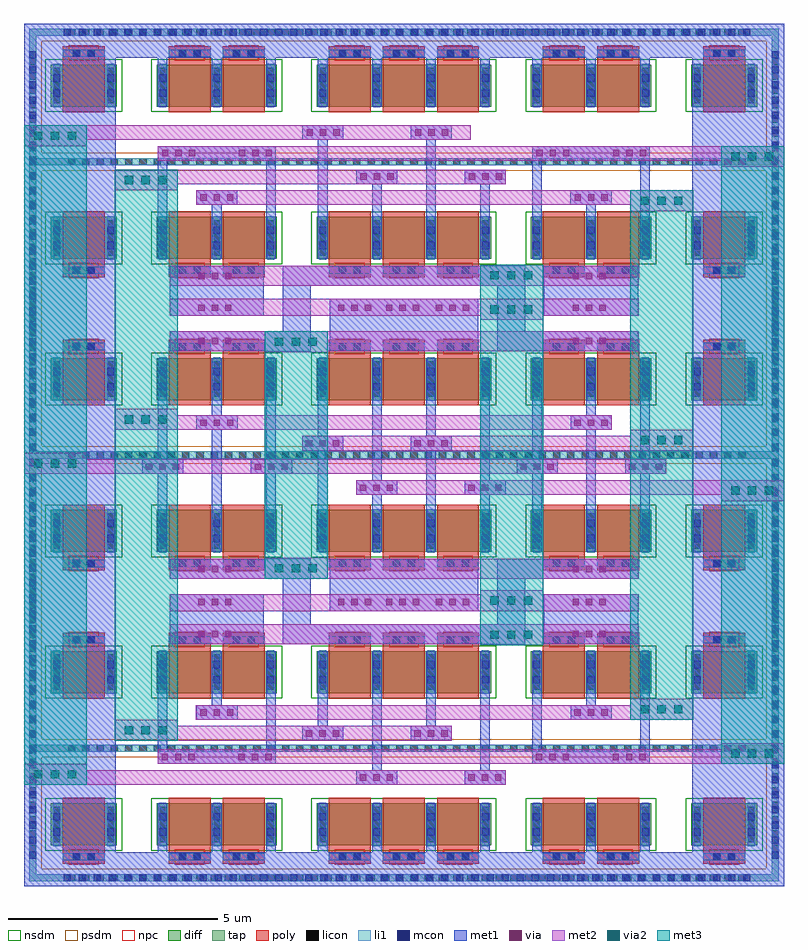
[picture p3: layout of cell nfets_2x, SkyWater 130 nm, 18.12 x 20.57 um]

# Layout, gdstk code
import gdstk
lib = gdstk.Library(unit=1e-6, precision=1e-09)
def R(c, l, rs):  # rectangles x0, y0, x1, y1
    for r in rs: c.add(gdstk.rectangle(r[:2], r[2:], *l))
def A(c, l, x, y, w, h, nx, ny, dx, dy):  # array of equal rectangles
    R(c, l, [(x+i*dx, y+j*dy, x+i*dx+w, y+j*dy+h) for i in range(nx) for j in range(ny)])
diff = (65, 20)
tap = (65, 44)
poly = (66, 20)
licon = (66, 44)
li1 = (67, 20)
mcon = (67, 44)
met1 = (68, 20)
via = (68, 44)
met2 = (69, 20)
via2 = (69, 44)
met3 = (70, 20)
nsdm = (93, 44)
psdm = (94, 20)
npc = (95, 20)

nfets_2x = lib.new_cell('nfets_2x')
R(nfets_2x, diff, [(-0.71,-14.52,0.87,-13.52), (1.815,-14.52,4.685,-13.52), (5.63,-14.52,9.79,-13.52), (10.735,-14.52,13.605,-13.52), (14.555,-14.52,16.135,-13.52), (-0.71,-10.89,0.87,-9.89), (1.815,-10.89,4.685,-9.89), (5.63,-10.89,9.79,-9.89), (10.735,-10.89,13.605,-9.89), (14.555,-10.89,16.135,-9.89), (-0.71,-7.525,0.87,-6.525), (1.815,-7.525,4.685,-6.525), (5.63,-7.525,9.79,-6.525), (10.735,-7.525,13.605,-6.525), (14.555,-7.525,16.135,-6.525), (-0.71,-3.905,0.87,-2.905), (1.815,-3.905,4.685,-2.905), (5.63,-3.905,9.79,-2.905), (10.735,-3.905,13.605,-2.905), (14.555,-3.905,16.135,-2.905), (-0.71,-0.54,0.87,0.46), (1.815,-0.54,4.685,0.46), (5.63,-0.54,9.79,0.46), (10.735,-0.54,13.605,0.46), (14.555,-0.54,16.135,0.46), (-0.71,3.09,0.87,4.09), (1.815,3.09,4.685,4.09), (5.63,3.09,9.79,4.09), (10.735,3.09,13.605,4.09), (14.555,3.09,16.135,4.09)])
A(nfets_2x, tap, -1.22, -12.29, 17.865, 0.17, 1, 3, 0, 6.99)
R(nfets_2x, tap, [(-1.22,-15.375,16.645,-15.205), (-1.22,-15.205,-1.05,-12.29), (16.475,-15.205,16.645,-12.29), (-1.22,-12.12,-1.05,-5.3), (16.475,-12.12,16.645,-5.3), (-1.22,-5.13,-1.05,1.69), (16.475,-5.13,16.645,1.69), (-1.22,1.86,-1.05,4.775), (16.475,1.86,16.645,4.775), (-1.22,4.775,16.645,4.945)])
A(nfets_2x, poly, 5.92, -14.96, 1, 1.57, 3, 2, 1.29, 3.94)
A(nfets_2x, poly, 5.92, -7.965, 1, 1.57, 3, 2, 1.29, 3.93)
A(nfets_2x, poly, 5.92, -0.98, 1, 1.57, 3, 2, 1.29, 3.94)
R(nfets_2x, poly, [(-0.42,-14.96,0.58,-13.39), (2.105,-14.96,3.105,-13.39), (3.395,-14.96,4.395,-13.39), (11.025,-14.96,12.025,-13.39), (12.315,-14.96,13.315,-13.39), (14.845,-14.96,15.845,-13.39), (-0.42,-11.02,0.58,-9.45), (2.105,-11.02,3.105,-9.45), (3.395,-11.02,4.395,-9.45), (11.025,-11.02,12.025,-9.45), (12.315,-11.02,13.315,-9.45), (14.845,-11.02,15.845,-9.45), (-0.42,-7.965,0.58,-6.395), (2.105,-7.965,3.105,-6.395), (3.395,-7.965,4.395,-6.395), (11.025,-7.965,12.025,-6.395), (12.315,-7.965,13.315,-6.395), (14.845,-7.965,15.845,-6.395), (-0.42,-4.035,0.58,-2.465), (2.105,-4.035,3.105,-2.465), (3.395,-4.035,4.395,-2.465), (11.025,-4.035,12.025,-2.465), (12.315,-4.035,13.315,-2.465), (14.845,-4.035,15.845,-2.465), (-0.42,-0.98,0.58,0.59), (2.105,-0.98,3.105,0.59), (3.395,-0.98,4.395,0.59), (11.025,-0.98,12.025,0.59), (12.315,-0.98,13.315,0.59), (14.845,-0.98,15.845,0.59), (-0.42,2.96,0.58,4.53), (2.105,2.96,3.105,4.53), (3.395,2.96,4.395,4.53), (11.025,2.96,12.025,4.53), (12.315,2.96,13.315,4.53), (14.845,2.96,15.845,4.53)])
A(nfets_2x, licon, -0.295, -15.375, 0.17, 0.17, 48, 2, 0.34, 3.085)
A(nfets_2x, licon, -1.22, -14.67, 0.17, 0.17, 1, 26, 0, 0.34)
A(nfets_2x, licon, 16.475, -14.67, 0.17, 0.17, 1, 26, 0, 0.34)
A(nfets_2x, licon, -0.65, -14.445, 0.17, 0.17, 1, 3, 0, 0.34)
A(nfets_2x, licon, 0.64, -14.445, 0.17, 0.17, 1, 3, 0, 0.34)
A(nfets_2x, licon, 1.875, -14.445, 0.17, 0.17, 3, 3, 1.29, 0.34)
A(nfets_2x, licon, 5.69, -14.445, 0.17, 0.17, 4, 3, 1.29, 0.34)
A(nfets_2x, licon, 10.795, -14.445, 0.17, 0.17, 3, 3, 1.29, 0.34)
A(nfets_2x, licon, 14.615, -14.445, 0.17, 0.17, 1, 3, 0, 0.34)
A(nfets_2x, licon, 15.905, -14.445, 0.17, 0.17, 1, 3, 0, 0.34)
A(nfets_2x, licon, -0.65, -10.815, 0.17, 0.17, 1, 3, 0, 0.34)
A(nfets_2x, licon, 0.64, -10.815, 0.17, 0.17, 1, 3, 0, 0.34)
A(nfets_2x, licon, 1.875, -10.815, 0.17, 0.17, 3, 3, 1.29, 0.34)
A(nfets_2x, licon, 5.69, -10.815, 0.17, 0.17, 4, 3, 1.29, 0.34)
A(nfets_2x, licon, 10.795, -10.815, 0.17, 0.17, 3, 3, 1.29, 0.34)
A(nfets_2x, licon, 14.615, -10.815, 0.17, 0.17, 1, 3, 0, 0.34)
A(nfets_2x, licon, 15.905, -10.815, 0.17, 0.17, 1, 3, 0, 0.34)
A(nfets_2x, licon, -0.65, -7.45, 0.17, 0.17, 1, 3, 0, 0.34)
A(nfets_2x, licon, 0.64, -7.45, 0.17, 0.17, 1, 3, 0, 0.34)
A(nfets_2x, licon, 1.875, -7.45, 0.17, 0.17, 3, 3, 1.29, 0.34)
A(nfets_2x, licon, 5.69, -7.45, 0.17, 0.17, 4, 3, 1.29, 0.34)
A(nfets_2x, licon, 10.795, -7.45, 0.17, 0.17, 3, 3, 1.29, 0.34)
A(nfets_2x, licon, 14.615, -7.45, 0.17, 0.17, 1, 3, 0, 0.34)
A(nfets_2x, licon, 15.905, -7.45, 0.17, 0.17, 1, 3, 0, 0.34)
A(nfets_2x, licon, -0.295, -5.3, 0.17, 0.17, 48, 2, 0.34, 6.99)
A(nfets_2x, licon, -1.22, -4.43, 0.17, 0.17, 1, 26, 0, 0.34)
A(nfets_2x, licon, 16.475, -4.43, 0.17, 0.17, 1, 26, 0, 0.34)
A(nfets_2x, licon, -0.65, -3.83, 0.17, 0.17, 1, 3, 0, 0.34)
A(nfets_2x, licon, 0.64, -3.83, 0.17, 0.17, 1, 3, 0, 0.34)
A(nfets_2x, licon, 1.875, -3.83, 0.17, 0.17, 3, 3, 1.29, 0.34)
A(nfets_2x, licon, 5.69, -3.83, 0.17, 0.17, 4, 3, 1.29, 0.34)
A(nfets_2x, licon, 10.795, -3.83, 0.17, 0.17, 3, 3, 1.29, 0.34)
A(nfets_2x, licon, 14.615, -3.83, 0.17, 0.17, 1, 3, 0, 0.34)
A(nfets_2x, licon, 15.905, -3.83, 0.17, 0.17, 1, 3, 0, 0.34)
A(nfets_2x, licon, -0.65, -0.465, 0.17, 0.17, 1, 3, 0, 0.34)
A(nfets_2x, licon, 0.64, -0.465, 0.17, 0.17, 1, 3, 0, 0.34)
A(nfets_2x, licon, 1.875, -0.465, 0.17, 0.17, 3, 3, 1.29, 0.34)
A(nfets_2x, licon, 5.69, -0.465, 0.17, 0.17, 4, 3, 1.29, 0.34)
A(nfets_2x, licon, 10.795, -0.465, 0.17, 0.17, 3, 3, 1.29, 0.34)
A(nfets_2x, licon, 14.615, -0.465, 0.17, 0.17, 1, 3, 0, 0.34)
A(nfets_2x, licon, 15.905, -0.465, 0.17, 0.17, 1, 3, 0, 0.34)
A(nfets_2x, licon, -0.65, 3.165, 0.17, 0.17, 1, 3, 0, 0.34)
A(nfets_2x, licon, 0.64, 3.165, 0.17, 0.17, 1, 3, 0, 0.34)
A(nfets_2x, licon, 1.875, 3.165, 0.17, 0.17, 3, 3, 1.29, 0.34)
A(nfets_2x, licon, 5.69, 3.165, 0.17, 0.17, 4, 3, 1.29, 0.34)
A(nfets_2x, licon, 10.795, 3.165, 0.17, 0.17, 3, 3, 1.29, 0.34)
A(nfets_2x, licon, 14.615, 3.165, 0.17, 0.17, 1, 3, 0, 0.34)
A(nfets_2x, licon, 15.905, 3.165, 0.17, 0.17, 1, 3, 0, 0.34)
A(nfets_2x, licon, -0.295, 4.775, 0.17, 0.17, 48, 1, 0.34, 0)
R(nfets_2x, licon, [(-0.175,-14.88,-0.005,-14.71), (0.165,-14.88,0.335,-14.71), (2.35,-14.88,2.52,-14.71), (2.69,-14.88,2.86,-14.71), (3.64,-14.88,3.81,-14.71), (3.98,-14.88,4.15,-14.71), (6.165,-14.88,6.335,-14.71), (6.505,-14.88,6.675,-14.71), (7.455,-14.88,7.625,-14.71), (7.795,-14.88,7.965,-14.71), (8.745,-14.88,8.915,-14.71), (9.085,-14.88,9.255,-14.71), (11.27,-14.88,11.44,-14.71), (11.61,-14.88,11.78,-14.71), (12.56,-14.88,12.73,-14.71), (12.9,-14.88,13.07,-14.71), (15.09,-14.88,15.26,-14.71), (15.43,-14.88,15.6,-14.71), (-0.175,-9.7,-0.005,-9.53), (0.165,-9.7,0.335,-9.53), (2.35,-9.7,2.52,-9.53), (2.69,-9.7,2.86,-9.53), (3.64,-9.7,3.81,-9.53), (3.98,-9.7,4.15,-9.53), (6.165,-9.7,6.335,-9.53), (6.505,-9.7,6.675,-9.53), (7.455,-9.7,7.625,-9.53), (7.795,-9.7,7.965,-9.53), (8.745,-9.7,8.915,-9.53), (9.085,-9.7,9.255,-9.53), (11.27,-9.7,11.44,-9.53), (11.61,-9.7,11.78,-9.53), (12.56,-9.7,12.73,-9.53), (12.9,-9.7,13.07,-9.53), (15.09,-9.7,15.26,-9.53), (15.43,-9.7,15.6,-9.53), (-0.175,-7.885,-0.005,-7.715), (0.165,-7.885,0.335,-7.715), (2.35,-7.885,2.52,-7.715), (2.69,-7.885,2.86,-7.715), (3.64,-7.885,3.81,-7.715), (3.98,-7.885,4.15,-7.715), (6.165,-7.885,6.335,-7.715), (6.505,-7.885,6.675,-7.715), (7.455,-7.885,7.625,-7.715), (7.795,-7.885,7.965,-7.715), (8.745,-7.885,8.915,-7.715), (9.085,-7.885,9.255,-7.715), (11.27,-7.885,11.44,-7.715), (11.61,-7.885,11.78,-7.715), (12.56,-7.885,12.73,-7.715), (12.9,-7.885,13.07,-7.715), (15.09,-7.885,15.26,-7.715), (15.43,-7.885,15.6,-7.715), (-0.175,-2.715,-0.005,-2.545), (0.165,-2.715,0.335,-2.545), (2.35,-2.715,2.52,-2.545), (2.69,-2.715,2.86,-2.545), (3.64,-2.715,3.81,-2.545), (3.98,-2.715,4.15,-2.545), (6.165,-2.715,6.335,-2.545), (6.505,-2.715,6.675,-2.545), (7.455,-2.715,7.625,-2.545), (7.795,-2.715,7.965,-2.545), (8.745,-2.715,8.915,-2.545), (9.085,-2.715,9.255,-2.545), (11.27,-2.715,11.44,-2.545), (11.61,-2.715,11.78,-2.545), (12.56,-2.715,12.73,-2.545), (12.9,-2.715,13.07,-2.545), (15.09,-2.715,15.26,-2.545), (15.43,-2.715,15.6,-2.545), (-0.175,-0.9,-0.005,-0.73), (0.165,-0.9,0.335,-0.73), (2.35,-0.9,2.52,-0.73), (2.69,-0.9,2.86,-0.73), (3.64,-0.9,3.81,-0.73), (3.98,-0.9,4.15,-0.73), (6.165,-0.9,6.335,-0.73), (6.505,-0.9,6.675,-0.73), (7.455,-0.9,7.625,-0.73), (7.795,-0.9,7.965,-0.73), (8.745,-0.9,8.915,-0.73), (9.085,-0.9,9.255,-0.73), (11.27,-0.9,11.44,-0.73), (11.61,-0.9,11.78,-0.73), (12.56,-0.9,12.73,-0.73), (12.9,-0.9,13.07,-0.73), (15.09,-0.9,15.26,-0.73), (15.43,-0.9,15.6,-0.73), (-0.175,4.28,-0.005,4.45), (0.165,4.28,0.335,4.45), (2.35,4.28,2.52,4.45), (2.69,4.28,2.86,4.45), (3.64,4.28,3.81,4.45), (3.98,4.28,4.15,4.45), (6.165,4.28,6.335,4.45), (6.505,4.28,6.675,4.45), (7.455,4.28,7.625,4.45), (7.795,4.28,7.965,4.45), (8.745,4.28,8.915,4.45), (9.085,4.28,9.255,4.45), (11.27,4.28,11.44,4.45), (11.61,4.28,11.78,4.45), (12.56,4.28,12.73,4.45), (12.9,4.28,13.07,4.45), (15.09,4.28,15.26,4.45), (15.43,4.28,15.6,4.45)])
A(nfets_2x, li1, 5.92, -14.88, 1, 0.17, 3, 2, 1.29, 5.18)
A(nfets_2x, li1, 1.875, -14.54, 0.17, 1.04, 3, 2, 1.29, 3.63)
A(nfets_2x, li1, 5.69, -14.54, 0.17, 1.04, 4, 2, 1.29, 3.63)
A(nfets_2x, li1, 10.795, -14.54, 0.17, 1.04, 3, 2, 1.29, 3.63)
A(nfets_2x, li1, -1.22, -12.29, 17.865, 0.17, 1, 3, 0, 6.99)
A(nfets_2x, li1, 5.92, -7.885, 1, 0.17, 3, 2, 1.29, 5.17)
A(nfets_2x, li1, 1.875, -7.545, 0.17, 1.04, 3, 2, 1.29, 3.62)
A(nfets_2x, li1, 5.69, -7.545, 0.17, 1.04, 4, 2, 1.29, 3.62)
A(nfets_2x, li1, 10.795, -7.545, 0.17, 1.04, 3, 2, 1.29, 3.62)
A(nfets_2x, li1, 5.92, -0.9, 1, 0.17, 3, 2, 1.29, 5.18)
A(nfets_2x, li1, 1.875, -0.56, 0.17, 1.04, 3, 2, 1.29, 3.63)
A(nfets_2x, li1, 5.69, -0.56, 0.17, 1.04, 4, 2, 1.29, 3.63)
A(nfets_2x, li1, 10.795, -0.56, 0.17, 1.04, 3, 2, 1.29, 3.63)
R(nfets_2x, li1, [(-1.22,-15.375,16.645,-15.205), (-1.22,-15.205,-1.05,-12.29), (16.475,-15.205,16.645,-12.29), (-0.42,-14.88,0.58,-14.71), (2.105,-14.88,3.105,-14.71), (3.395,-14.88,4.395,-14.71), (11.025,-14.88,12.025,-14.71), (12.315,-14.88,13.315,-14.71), (14.845,-14.88,15.845,-14.71), (-0.65,-14.54,-0.48,-13.5), (0.64,-14.54,0.81,-13.5), (14.615,-14.54,14.785,-13.5), (15.905,-14.54,16.075,-13.5), (-1.22,-12.12,-1.05,-5.3), (16.475,-12.12,16.645,-5.3), (-0.65,-10.91,-0.48,-9.87), (0.64,-10.91,0.81,-9.87), (14.615,-10.91,14.785,-9.87), (15.905,-10.91,16.075,-9.87), (-0.42,-9.7,0.58,-9.53), (2.105,-9.7,3.105,-9.53), (3.395,-9.7,4.395,-9.53), (11.025,-9.7,12.025,-9.53), (12.315,-9.7,13.315,-9.53), (14.845,-9.7,15.845,-9.53), (-0.42,-7.885,0.58,-7.715), (2.105,-7.885,3.105,-7.715), (3.395,-7.885,4.395,-7.715), (11.025,-7.885,12.025,-7.715), (12.315,-7.885,13.315,-7.715), (14.845,-7.885,15.845,-7.715), (-0.65,-7.545,-0.48,-6.505), (0.64,-7.545,0.81,-6.505), (14.615,-7.545,14.785,-6.505), (15.905,-7.545,16.075,-6.505), (-1.22,-5.13,-1.05,1.69), (16.475,-5.13,16.645,1.69), (-0.65,-3.925,-0.48,-2.885), (0.64,-3.925,0.81,-2.885), (14.615,-3.925,14.785,-2.885), (15.905,-3.925,16.075,-2.885), (-0.42,-2.715,0.58,-2.545), (2.105,-2.715,3.105,-2.545), (3.395,-2.715,4.395,-2.545), (11.025,-2.715,12.025,-2.545), (12.315,-2.715,13.315,-2.545), (14.845,-2.715,15.845,-2.545), (-0.42,-0.9,0.58,-0.73), (2.105,-0.9,3.105,-0.73), (3.395,-0.9,4.395,-0.73), (11.025,-0.9,12.025,-0.73), (12.315,-0.9,13.315,-0.73), (14.845,-0.9,15.845,-0.73), (-0.65,-0.56,-0.48,0.48), (0.64,-0.56,0.81,0.48), (14.615,-0.56,14.785,0.48), (15.905,-0.56,16.075,0.48), (-1.22,1.86,-1.05,4.775), (16.475,1.86,16.645,4.775), (-0.65,3.07,-0.48,4.11), (0.64,3.07,0.81,4.11), (14.615,3.07,14.785,4.11), (15.905,3.07,16.075,4.11), (-0.42,4.28,0.58,4.45), (2.105,4.28,3.105,4.45), (3.395,4.28,4.395,4.45), (11.025,4.28,12.025,4.45), (12.315,4.28,13.315,4.45), (14.845,4.28,15.845,4.45), (-1.22,4.775,16.645,4.945)])
A(nfets_2x, mcon, -0.4, -15.375, 0.17, 0.17, 46, 2, 0.36, 20.15)
A(nfets_2x, mcon, -1.22, -14.84, 0.17, 0.17, 1, 54, 0, 0.36)
A(nfets_2x, mcon, 16.475, -14.84, 0.17, 0.17, 1, 54, 0, 0.36)
A(nfets_2x, mcon, 1.875, -14.285, 0.17, 0.17, 3, 2, 1.29, 0.36)
A(nfets_2x, mcon, 5.69, -14.285, 0.17, 0.17, 4, 2, 1.29, 0.36)
A(nfets_2x, mcon, 10.795, -14.285, 0.17, 0.17, 3, 2, 1.29, 0.36)
A(nfets_2x, mcon, 1.875, -10.655, 0.17, 0.17, 3, 2, 1.29, 0.36)
A(nfets_2x, mcon, 5.69, -10.655, 0.17, 0.17, 4, 2, 1.29, 0.36)
A(nfets_2x, mcon, 10.795, -10.655, 0.17, 0.17, 3, 2, 1.29, 0.36)
A(nfets_2x, mcon, 1.875, -7.29, 0.17, 0.17, 3, 2, 1.29, 0.36)
A(nfets_2x, mcon, 5.69, -7.29, 0.17, 0.17, 4, 2, 1.29, 0.36)
A(nfets_2x, mcon, 10.795, -7.29, 0.17, 0.17, 3, 2, 1.29, 0.36)
A(nfets_2x, mcon, 1.875, -3.67, 0.17, 0.17, 3, 2, 1.29, 0.36)
A(nfets_2x, mcon, 5.69, -3.67, 0.17, 0.17, 4, 2, 1.29, 0.36)
A(nfets_2x, mcon, 10.795, -3.67, 0.17, 0.17, 3, 2, 1.29, 0.36)
A(nfets_2x, mcon, 1.875, -0.305, 0.17, 0.17, 3, 2, 1.29, 0.36)
A(nfets_2x, mcon, 5.69, -0.305, 0.17, 0.17, 4, 2, 1.29, 0.36)
A(nfets_2x, mcon, 10.795, -0.305, 0.17, 0.17, 3, 2, 1.29, 0.36)
A(nfets_2x, mcon, 1.875, 3.325, 0.17, 0.17, 3, 2, 1.29, 0.36)
A(nfets_2x, mcon, 5.69, 3.325, 0.17, 0.17, 4, 2, 1.29, 0.36)
A(nfets_2x, mcon, 10.795, 3.325, 0.17, 0.17, 3, 2, 1.29, 0.36)
R(nfets_2x, mcon, [(-0.185,-14.88,-0.015,-14.71), (0.175,-14.88,0.345,-14.71), (2.34,-14.88,2.51,-14.71), (2.7,-14.88,2.87,-14.71), (3.63,-14.88,3.8,-14.71), (3.99,-14.88,4.16,-14.71), (6.155,-14.88,6.325,-14.71), (6.515,-14.88,6.685,-14.71), (7.445,-14.88,7.615,-14.71), (7.805,-14.88,7.975,-14.71), (8.735,-14.88,8.905,-14.71), (9.095,-14.88,9.265,-14.71), (11.26,-14.88,11.43,-14.71), (11.62,-14.88,11.79,-14.71), (12.55,-14.88,12.72,-14.71), (12.91,-14.88,13.08,-14.71), (15.08,-14.88,15.25,-14.71), (15.44,-14.88,15.61,-14.71), (-0.65,-14.285,-0.48,-14.115), (0.64,-14.285,0.81,-14.115), (14.615,-14.285,14.785,-14.115), (15.905,-14.285,16.075,-14.115), (-0.65,-13.925,-0.48,-13.755), (0.64,-13.925,0.81,-13.755), (14.615,-13.925,14.785,-13.755), (15.905,-13.925,16.075,-13.755), (-0.65,-10.655,-0.48,-10.485), (0.64,-10.655,0.81,-10.485), (14.615,-10.655,14.785,-10.485), (15.905,-10.655,16.075,-10.485), (-0.65,-10.295,-0.48,-10.125), (0.64,-10.295,0.81,-10.125), (14.615,-10.295,14.785,-10.125), (15.905,-10.295,16.075,-10.125), (-0.185,-9.7,-0.015,-9.53), (0.175,-9.7,0.345,-9.53), (2.34,-9.7,2.51,-9.53), (2.7,-9.7,2.87,-9.53), (3.63,-9.7,3.8,-9.53), (3.99,-9.7,4.16,-9.53), (6.155,-9.7,6.325,-9.53), (6.515,-9.7,6.685,-9.53), (7.445,-9.7,7.615,-9.53), (7.805,-9.7,7.975,-9.53), (8.735,-9.7,8.905,-9.53), (9.095,-9.7,9.265,-9.53), (11.26,-9.7,11.43,-9.53), (11.62,-9.7,11.79,-9.53), (12.55,-9.7,12.72,-9.53), (12.91,-9.7,13.08,-9.53), (15.08,-9.7,15.25,-9.53), (15.44,-9.7,15.61,-9.53), (-0.185,-7.885,-0.015,-7.715), (0.175,-7.885,0.345,-7.715), (2.34,-7.885,2.51,-7.715), (2.7,-7.885,2.87,-7.715), (3.63,-7.885,3.8,-7.715), (3.99,-7.885,4.16,-7.715), (6.155,-7.885,6.325,-7.715), (6.515,-7.885,6.685,-7.715), (7.445,-7.885,7.615,-7.715), (7.805,-7.885,7.975,-7.715), (8.735,-7.885,8.905,-7.715), (9.095,-7.885,9.265,-7.715), (11.26,-7.885,11.43,-7.715), (11.62,-7.885,11.79,-7.715), (12.55,-7.885,12.72,-7.715), (12.91,-7.885,13.08,-7.715), (15.08,-7.885,15.25,-7.715), (15.44,-7.885,15.61,-7.715), (-0.65,-7.29,-0.48,-7.12), (0.64,-7.29,0.81,-7.12), (14.615,-7.29,14.785,-7.12), (15.905,-7.29,16.075,-7.12), (-0.65,-6.93,-0.48,-6.76), (0.64,-6.93,0.81,-6.76), (14.615,-6.93,14.785,-6.76), (15.905,-6.93,16.075,-6.76), (-0.65,-3.67,-0.48,-3.5), (0.64,-3.67,0.81,-3.5), (14.615,-3.67,14.785,-3.5), (15.905,-3.67,16.075,-3.5), (-0.65,-3.31,-0.48,-3.14), (0.64,-3.31,0.81,-3.14), (14.615,-3.31,14.785,-3.14), (15.905,-3.31,16.075,-3.14), (-0.185,-2.715,-0.015,-2.545), (0.175,-2.715,0.345,-2.545), (2.34,-2.715,2.51,-2.545), (2.7,-2.715,2.87,-2.545), (3.63,-2.715,3.8,-2.545), (3.99,-2.715,4.16,-2.545), (6.155,-2.715,6.325,-2.545), (6.515,-2.715,6.685,-2.545), (7.445,-2.715,7.615,-2.545), (7.805,-2.715,7.975,-2.545), (8.735,-2.715,8.905,-2.545), (9.095,-2.715,9.265,-2.545), (11.26,-2.715,11.43,-2.545), (11.62,-2.715,11.79,-2.545), (12.55,-2.715,12.72,-2.545), (12.91,-2.715,13.08,-2.545), (15.08,-2.715,15.25,-2.545), (15.44,-2.715,15.61,-2.545), (-0.185,-0.9,-0.015,-0.73), (0.175,-0.9,0.345,-0.73), (2.34,-0.9,2.51,-0.73), (2.7,-0.9,2.87,-0.73), (3.63,-0.9,3.8,-0.73), (3.99,-0.9,4.16,-0.73), (6.155,-0.9,6.325,-0.73), (6.515,-0.9,6.685,-0.73), (7.445,-0.9,7.615,-0.73), (7.805,-0.9,7.975,-0.73), (8.735,-0.9,8.905,-0.73), (9.095,-0.9,9.265,-0.73), (11.26,-0.9,11.43,-0.73), (11.62,-0.9,11.79,-0.73), (12.55,-0.9,12.72,-0.73), (12.91,-0.9,13.08,-0.73), (15.08,-0.9,15.25,-0.73), (15.44,-0.9,15.61,-0.73), (-0.65,-0.305,-0.48,-0.135), (0.64,-0.305,0.81,-0.135), (14.615,-0.305,14.785,-0.135), (15.905,-0.305,16.075,-0.135), (-0.65,0.055,-0.48,0.225), (0.64,0.055,0.81,0.225), (14.615,0.055,14.785,0.225), (15.905,0.055,16.075,0.225), (-0.65,3.325,-0.48,3.495), (0.64,3.325,0.81,3.495), (14.615,3.325,14.785,3.495), (15.905,3.325,16.075,3.495), (-0.65,3.685,-0.48,3.855), (0.64,3.685,0.81,3.855), (14.615,3.685,14.785,3.855), (15.905,3.685,16.075,3.855), (-0.185,4.28,-0.015,4.45), (0.175,4.28,0.345,4.45), (2.34,4.28,2.51,4.45), (2.7,4.28,2.87,4.45), (3.63,4.28,3.8,4.45), (3.99,4.28,4.16,4.45), (6.155,4.28,6.325,4.45), (6.515,4.28,6.685,4.45), (7.445,4.28,7.615,4.45), (7.805,4.28,7.975,4.45), (8.735,4.28,8.905,4.45), (9.095,4.28,9.265,4.45), (11.26,4.28,11.43,4.45), (11.62,4.28,11.79,4.45), (12.55,4.28,12.72,4.45), (12.91,4.28,13.08,4.45), (15.08,4.28,15.25,4.45), (15.44,4.28,15.61,4.45)])
A(nfets_2x, met1, 1.845, -14.68, 0.23, 1.16, 3, 2, 1.29, 17.77)
A(nfets_2x, met1, 5.66, -14.68, 0.23, 1.16, 4, 2, 1.29, 17.77)
A(nfets_2x, met1, 10.765, -14.68, 0.23, 1.16, 3, 2, 1.29, 17.77)
R(nfets_2x, met1, [(-1.345,-15.5,16.77,-14.68), (-1.345,-14.68,0.84,4.25), (14.585,-14.68,16.77,4.25), (6.57,-13.075,7.55,-12.725), (9.155,-13.075,10.135,-12.725), (6.95,-12.725,7.18,-9.89), (9.53,-12.725,9.76,-9.89), (1.845,-12.58,4.655,-12.23), (10.765,-12.58,13.575,-12.23), (1.845,-12.23,2.075,-9.89), (4.425,-12.23,4.655,-9.89), (10.765,-12.23,10.995,-9.89), (13.345,-12.23,13.575,-9.89), (5.285,-12.02,6.265,-11.67), (7.87,-12.02,8.85,-11.67), (5.66,-11.67,5.89,-9.89), (8.24,-11.67,8.47,-9.89), (2.765,-11.525,3.745,-11.175), (11.685,-11.525,12.665,-11.175), (3.135,-11.175,3.365,-9.89), (12.055,-11.175,12.285,-9.89), (2.125,-9.73,4.375,-8.53), (4.82,-9.73,10.605,-9.25), (11.045,-9.73,13.295,-8.53), (4.82,-9.25,5.495,-8.165), (9.94,-9.25,10.605,-8.165), (5.94,-8.935,9.48,-7.685), (2.125,-8.165,5.495,-7.685), (9.94,-8.165,13.295,-7.685), (1.845,-7.525,2.075,-5.665), (3.135,-7.525,3.365,-4.615), (4.425,-7.525,4.655,-5.665), (5.66,-7.525,5.89,-5.11), (6.95,-7.525,7.18,-6.165), (8.24,-7.525,8.47,-5.11), (9.53,-7.525,9.76,-6.165), (10.765,-7.525,10.995,-5.665), (12.055,-7.525,12.285,-4.615), (13.345,-7.525,13.575,-5.665), (6.57,-6.165,7.55,-5.815), (9.155,-6.165,10.135,-5.815), (6.95,-5.815,7.18,-2.905), (9.53,-5.815,9.76,-2.905), (1.47,-5.665,2.45,-5.315), (4.065,-5.665,5.045,-5.315), (10.4,-5.665,11.38,-5.315), (12.985,-5.665,13.965,-5.315), (1.845,-5.315,2.075,-2.905), (4.425,-5.315,4.655,-2.905), (10.765,-5.315,10.995,-2.905), (13.345,-5.315,13.575,-2.905), (5.285,-5.11,6.265,-4.76), (7.87,-5.11,8.85,-4.76), (5.66,-4.76,5.89,-2.905), (8.24,-4.76,8.47,-2.905), (2.765,-4.615,3.745,-4.265), (11.685,-4.615,12.665,-4.265), (3.135,-4.265,3.365,-2.905), (12.055,-4.265,12.285,-2.905), (2.125,-2.745,5.495,-2.265), (5.94,-2.745,9.48,-1.495), (9.94,-2.745,13.295,-2.265), (4.82,-2.265,5.495,-1.18), (9.94,-2.265,10.605,-1.18), (2.125,-1.9,4.375,-0.7), (11.045,-1.9,13.295,-0.7), (4.82,-1.18,10.605,-0.7), (1.845,-0.54,2.075,1.8), (3.135,-0.54,3.365,0.745), (4.425,-0.54,4.655,1.8), (5.66,-0.54,5.89,2.295), (6.95,-0.54,7.18,1.24), (8.24,-0.54,8.47,2.295), (9.53,-0.54,9.76,1.24), (10.765,-0.54,10.995,1.8), (12.055,-0.54,12.285,0.745), (13.345,-0.54,13.575,1.8), (2.755,0.745,3.735,1.095), (11.68,0.745,12.66,1.095), (6.575,1.24,7.555,1.59), (9.16,1.24,10.14,1.59), (1.845,1.8,4.655,2.15), (10.765,1.8,13.575,2.15), (5.29,2.295,6.27,2.645), (7.875,2.295,8.855,2.645), (-1.345,4.25,16.77,5.07)])
A(nfets_2x, via, 6.66, -12.98, 0.15, 0.15, 3, 2, 0.32, 6.91)
A(nfets_2x, via, 9.245, -12.98, 0.15, 0.15, 3, 2, 0.32, 6.91)
A(nfets_2x, via, 1.935, -12.485, 0.15, 0.15, 3, 1, 0.32, 0)
A(nfets_2x, via, 3.765, -12.485, 0.15, 0.15, 3, 1, 0.32, 0)
A(nfets_2x, via, 10.855, -12.485, 0.15, 0.15, 3, 1, 0.32, 0)
A(nfets_2x, via, 12.685, -12.485, 0.15, 0.15, 3, 1, 0.32, 0)
A(nfets_2x, via, 5.375, -11.925, 0.15, 0.15, 3, 2, 0.32, 6.91)
A(nfets_2x, via, 7.96, -11.925, 0.15, 0.15, 3, 2, 0.32, 6.91)
A(nfets_2x, via, 2.855, -11.43, 0.15, 0.15, 3, 2, 0.32, 6.91)
A(nfets_2x, via, 11.775, -11.43, 0.15, 0.15, 3, 2, 0.32, 6.91)
A(nfets_2x, via, 2.81, -9.555, 0.15, 0.15, 3, 2, 0.32, 0.76)
A(nfets_2x, via, 11.73, -9.555, 0.15, 0.15, 3, 2, 0.32, 0.76)
A(nfets_2x, via, 6.14, -8.795, 0.15, 0.15, 3, 2, 0.32, 7.015)
A(nfets_2x, via, 7.285, -8.795, 0.15, 0.15, 3, 2, 0.32, 7.015)
A(nfets_2x, via, 8.475, -8.795, 0.15, 0.15, 3, 2, 0.32, 7.015)
A(nfets_2x, via, 2.81, -8.01, 0.15, 0.15, 3, 2, 0.32, 5.44)
A(nfets_2x, via, 11.73, -8.01, 0.15, 0.15, 3, 2, 0.32, 5.44)
A(nfets_2x, via, 1.56, -5.57, 0.15, 0.15, 3, 1, 0.32, 0)
A(nfets_2x, via, 4.155, -5.57, 0.15, 0.15, 3, 1, 0.32, 0)
A(nfets_2x, via, 10.49, -5.57, 0.15, 0.15, 3, 1, 0.32, 0)
A(nfets_2x, via, 13.075, -5.57, 0.15, 0.15, 3, 1, 0.32, 0)
A(nfets_2x, via, 2.81, -1.78, 0.15, 0.15, 3, 2, 0.32, 0.755)
A(nfets_2x, via, 11.73, -1.78, 0.15, 0.15, 3, 2, 0.32, 0.755)
A(nfets_2x, via, 2.855, 0.85, 0.15, 0.15, 3, 1, 0.32, 0)
A(nfets_2x, via, 11.78, 0.85, 0.15, 0.15, 3, 1, 0.32, 0)
A(nfets_2x, via, 6.675, 1.345, 0.15, 0.15, 3, 1, 0.32, 0)
A(nfets_2x, via, 9.26, 1.345, 0.15, 0.15, 3, 1, 0.32, 0)
A(nfets_2x, via, 1.945, 1.905, 0.15, 0.15, 3, 1, 0.32, 0)
A(nfets_2x, via, 3.775, 1.905, 0.15, 0.15, 3, 1, 0.32, 0)
A(nfets_2x, via, 10.865, 1.905, 0.15, 0.15, 3, 1, 0.32, 0)
A(nfets_2x, via, 12.695, 1.905, 0.15, 0.15, 3, 1, 0.32, 0)
A(nfets_2x, via, 5.39, 2.4, 0.15, 0.15, 3, 1, 0.32, 0)
A(nfets_2x, via, 7.975, 2.4, 0.15, 0.15, 3, 1, 0.32, 0)
R(nfets_2x, met2, [(-1.345,-13.075,10.135,-12.725), (-1.345,-12.725,0.155,-12.575), (1.845,-12.58,16.77,-12.23), (15.27,-12.23,16.77,-12.08), (0.815,-12.025,8.85,-11.67), (0.815,-11.67,2.315,-11.525), (2.75,-11.525,14.61,-11.175), (13.11,-11.175,14.61,-11.025), (9.53,-9.75,11.03,-9.73), (2.125,-9.73,13.31,-9.25), (2.125,-8.935,13.31,-8.53), (9.53,-8.53,11.03,-8.435), (2.125,-8.165,13.31,-7.685), (4.395,-7.685,5.895,-7.665), (15.27,-6.315,16.77,-6.165), (6.57,-6.165,16.77,-5.815), (-1.345,-5.665,13.965,-5.315), (-1.345,-5.315,0.155,-5.165), (5.285,-5.11,14.61,-4.76), (13.11,-4.76,14.61,-4.61), (0.815,-4.615,12.665,-4.265), (0.815,-4.265,2.315,-4.115), (4.395,-2.765,5.895,-2.745), (2.125,-2.745,13.31,-2.265), (9.53,-1.995,11.03,-1.9), (2.125,-1.9,13.31,-1.495), (2.125,-1.18,13.31,-0.7), (9.53,-0.7,11.03,-0.68), (13.11,0.595,14.61,0.745), (2.755,0.745,14.61,1.095), (0.815,1.09,2.315,1.24), (0.815,1.24,10.14,1.59), (15.27,1.65,16.77,1.8), (1.845,1.8,16.77,2.15), (-1.345,2.145,0.155,2.295), (-1.345,2.295,9.305,2.645)])
A(nfets_2x, via2, -1.105, -12.925, 0.2, 0.2, 3, 2, 0.4, 7.41)
A(nfets_2x, via2, 15.51, -12.43, 0.2, 0.2, 3, 2, 0.4, 6.265)
A(nfets_2x, via2, 1.055, -11.875, 0.2, 0.2, 3, 2, 0.4, 7.41)
A(nfets_2x, via2, 13.35, -11.375, 0.2, 0.2, 3, 2, 0.4, 6.415)
A(nfets_2x, via2, 9.77, -9.6, 0.2, 0.2, 3, 2, 0.4, 0.815)
A(nfets_2x, via2, 4.635, -8.015, 0.2, 0.2, 3, 2, 0.4, 5.4)
A(nfets_2x, via2, 9.77, -1.845, 0.2, 0.2, 3, 2, 0.4, 0.815)
A(nfets_2x, via2, 13.35, 0.745, 0.2, 0.2, 3, 1, 0.4, 0)
A(nfets_2x, via2, 1.055, 1.24, 0.2, 0.2, 3, 1, 0.4, 0)
A(nfets_2x, via2, 15.51, 1.8, 0.2, 0.2, 3, 1, 0.4, 0)
A(nfets_2x, via2, -1.105, 2.295, 0.2, 0.2, 3, 1, 0.4, 0)
R(nfets_2x, met3, [(-1.345,-13.075,0.155,2.645), (15.27,-12.58,16.77,2.15), (0.815,-12.025,2.315,1.59), (13.11,-11.525,14.61,1.095), (9.53,-9.75,11.03,-0.68), (4.395,-8.165,5.9,-2.265)])
R(nfets_2x, nsdm, [(-0.835,-14.645,0.995,-13.395), (1.69,-14.645,4.81,-13.395), (5.505,-14.645,9.915,-13.395), (10.61,-14.645,13.73,-13.395), (14.43,-14.645,16.26,-13.395), (-0.835,-11.015,0.995,-9.765), (1.69,-11.015,4.81,-9.765), (5.505,-11.015,9.915,-9.765), (10.61,-11.015,13.73,-9.765), (14.43,-11.015,16.26,-9.765), (-0.835,-7.65,0.995,-6.4), (1.69,-7.65,4.81,-6.4), (5.505,-7.65,9.915,-6.4), (10.61,-7.65,13.73,-6.4), (14.43,-7.65,16.26,-6.4), (-0.835,-4.03,0.995,-2.78), (1.69,-4.03,4.81,-2.78), (5.505,-4.03,9.915,-2.78), (10.61,-4.03,13.73,-2.78), (14.43,-4.03,16.26,-2.78), (-0.835,-0.665,0.995,0.585), (1.69,-0.665,4.81,0.585), (5.505,-0.665,9.915,0.585), (10.61,-0.665,13.73,0.585), (14.43,-0.665,16.26,0.585), (-0.835,2.965,0.995,4.215), (1.69,2.965,4.81,4.215), (5.505,2.965,9.915,4.215), (10.61,2.965,13.73,4.215), (14.43,2.965,16.26,4.215)])
A(nfets_2x, psdm, -1.345, -12.415, 18.115, 0.42, 1, 3, 0, 6.99)
R(nfets_2x, psdm, [(-1.345,-15.5,16.77,-15.08), (-1.345,-15.08,-0.925,-12.415), (16.35,-15.08,16.77,-12.415), (-1.345,-11.995,-0.925,-5.425), (16.35,-11.995,16.77,-5.425), (-1.345,-5.005,-0.925,1.565), (16.35,-5.005,16.77,1.565), (-1.345,1.985,-0.925,4.65), (16.35,1.985,16.77,4.65), (-1.345,4.65,16.77,5.07)])
A(nfets_2x, npc, 6.065, -14.98, 0.71, 0.37, 3, 2, 1.29, 5.18)
A(nfets_2x, npc, 6.065, -7.985, 0.71, 0.37, 3, 2, 1.29, 5.17)
A(nfets_2x, npc, 6.065, -1, 0.71, 0.37, 3, 2, 1.29, 5.18)
R(nfets_2x, npc, [(-0.275,-14.98,0.435,-14.61), (2.25,-14.98,2.96,-14.61), (3.54,-14.98,4.25,-14.61), (11.17,-14.98,11.88,-14.61), (12.46,-14.98,13.17,-14.61), (14.99,-14.98,15.7,-14.61), (-0.275,-9.8,0.435,-9.43), (2.25,-9.8,2.96,-9.43), (3.54,-9.8,4.25,-9.43), (11.17,-9.8,11.88,-9.43), (12.46,-9.8,13.17,-9.43), (14.99,-9.8,15.7,-9.43), (-0.275,-7.985,0.435,-7.615), (2.25,-7.985,2.96,-7.615), (3.54,-7.985,4.25,-7.615), (11.17,-7.985,11.88,-7.615), (12.46,-7.985,13.17,-7.615), (14.99,-7.985,15.7,-7.615), (-0.275,-2.815,0.435,-2.445), (2.25,-2.815,2.96,-2.445), (3.54,-2.815,4.25,-2.445), (11.17,-2.815,11.88,-2.445), (12.46,-2.815,13.17,-2.445), (14.99,-2.815,15.7,-2.445), (-0.275,-1,0.435,-0.63), (2.25,-1,2.96,-0.63), (3.54,-1,4.25,-0.63), (11.17,-1,11.88,-0.63), (12.46,-1,13.17,-0.63), (14.99,-1,15.7,-0.63), (-0.275,4.18,0.435,4.55), (2.25,4.18,2.96,4.55), (3.54,4.18,4.25,4.55), (11.17,4.18,11.88,4.55), (12.46,4.18,13.17,4.55), (14.99,4.18,15.7,4.55)])

lib.write_gds('nfets_2x.gds')
